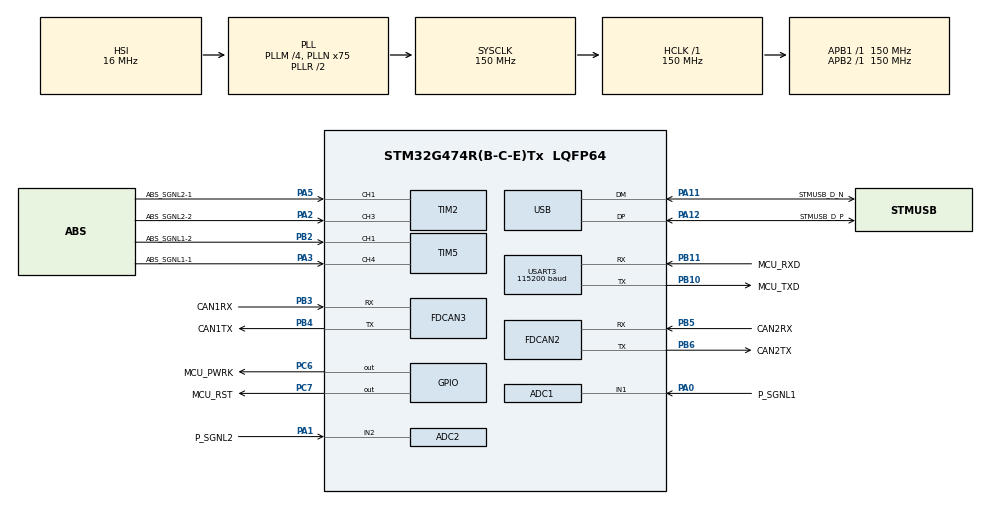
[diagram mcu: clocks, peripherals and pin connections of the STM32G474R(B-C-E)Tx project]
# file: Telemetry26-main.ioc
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ADC1.Channel-0\#ChannelRegularConversion=ADC_CHANNEL_1
ADC1.NbrOfConversionFlag=1
ADC1.OffsetNumber-0\#ChannelRegularConversion=ADC_OFFSET_NONE
ADC1.Rank-0\#ChannelRegularConversion=1
ADC1.SamplingTime-0\#ChannelRegularConversion=ADC_SAMPLETIME_2CYCLES_5
ADC1.master=1
ADC2.Channel-0\#ChannelRegularConversion=ADC_CHANNEL_2
ADC2.NbrOfConversionFlag=1
ADC2.OffsetNumber-0\#ChannelRegularConversion=ADC_OFFSET_NONE
ADC2.Rank-0\#ChannelRegularConversion=1
ADC2.SamplingTime-0\#ChannelRegularConversion=ADC_SAMPLETIME_2CYCLES_5
Dma.Request0=USART3_TX
Dma.Request1=USART3_RX
Dma.USART3_RX.1.Direction=DMA_PERIPH_TO_MEMORY
Dma.USART3_RX.1.EventEnable=DISABLE
Dma.USART3_RX.1.Instance=DMA1_Channel2
Dma.USART3_RX.1.MemDataAlignment=DMA_MDATAALIGN_BYTE
Dma.USART3_RX.1.MemInc=DMA_MINC_ENABLE
Dma.USART3_RX.1.Mode=DMA_NORMAL
Dma.USART3_RX.1.PeriphDataAlignment=DMA_PDATAALIGN_BYTE
Dma.USART3_RX.1.PeriphInc=DMA_PINC_DISABLE
Dma.USART3_RX.1.Polarity=HAL_DMAMUX_REQ_GEN_RISING
Dma.USART3_RX.1.Priority=DMA_PRIORITY_LOW
Dma.USART3_RX.1.RequestNumber=1
Dma.USART3_RX.1.SignalID=NONE
Dma.USART3_RX.1.SyncEnable=DISABLE
Dma.USART3_RX.1.SyncPolarity=HAL_DMAMUX_SYNC_NO_EVENT
Dma.USART3_RX.1.SyncRequestNumber=1
Dma.USART3_RX.1.SyncSignalID=NONE
Dma.USART3_TX.0.Direction=DMA_MEMORY_TO_PERIPH
Dma.USART3_TX.0.EventEnable=DISABLE
Dma.USART3_TX.0.Instance=DMA1_Channel1
Dma.USART3_TX.0.MemDataAlignment=DMA_MDATAALIGN_BYTE
Dma.USART3_TX.0.MemInc=DMA_MINC_ENABLE
Dma.USART3_TX.0.Mode=DMA_NORMAL
Dma.USART3_TX.0.PeriphDataAlignment=DMA_PDATAALIGN_BYTE
Dma.USART3_TX.0.PeriphInc=DMA_PINC_DISABLE
Dma.USART3_TX.0.Polarity=HAL_DMAMUX_REQ_GEN_RISING
Dma.USART3_TX.0.Priority=DMA_PRIORITY_LOW
Dma.USART3_TX.0.RequestNumber=1
Dma.USART3_TX.0.SignalID=NONE
Dma.USART3_TX.0.SyncEnable=DISABLE
Dma.USART3_TX.0.SyncPolarity=HAL_DMAMUX_SYNC_NO_EVENT
Dma.USART3_TX.0.SyncRequestNumber=1
Dma.USART3_TX.0.SyncSignalID=NONE
FDCAN2.CalculateBaudRateNominal=1000000
FDCAN2.CalculateTimeBitNominal=1000
FDCAN2.CalculateTimeQuantumNominal=20.0
FDCAN2.NominalPrescaler=1
FDCAN2.NominalSyncJumpWidth=7
FDCAN2.NominalTimeSeg1=42
FDCAN2.NominalTimeSeg2=7
FDCAN3.CalculateBaudRateNominal=1000000
FDCAN3.CalculateTimeBitNominal=1000
FDCAN3.CalculateTimeQuantumNominal=20.0
FDCAN3.DataSyncJumpWidth=12
FDCAN3.DataTimeSeg1=12
FDCAN3.DataTimeSeg2=12
FDCAN3.FrameFormat=FDCAN_FRAME_FD_BRS
FDCAN3.NominalPrescaler=1
FDCAN3.NominalSyncJumpWidth=7
FDCAN3.NominalTimeSeg1=42
FDCAN3.NominalTimeSeg2=7
FREERTOS.Tasks01=vTelemetry_Task,40,512,StartTelemetryTask,Default,NULL,Dynamic,NULL,NULL;vGSM_Task,24,512,StartGSMTask,Default,NULL,Dynamic,NULL,NULL
FREERTOS.configTOTAL_HEAP_SIZE=16384
FREERTOS.configUSE_NEWLIB_REENTRANT=1
IWDG.Prescaler=IWDG_PRESCALER_256
Mcu.Family=STM32G4
Mcu.Name=STM32G474R(B-C-E)Tx
Mcu.Package=LQFP64
NVIC.DMA1_Channel1_IRQn=true\:5\:0\:false\:false\:true\:true\:false\:true\:true
NVIC.DMA1_Channel2_IRQn=true\:5\:0\:false\:false\:true\:true\:false\:true\:true
NVIC.FDCAN2_IT0_IRQn=true\:5\:0\:false\:false\:true\:true\:true\:true\:true
NVIC.FDCAN3_IT0_IRQn=true\:5\:0\:false\:false\:true\:true\:true\:true\:true
NVIC.PriorityGroup=NVIC_PRIORITYGROUP_4
NVIC.TIM2_IRQn=true\:5\:0\:false\:false\:true\:true\:true\:true\:true
NVIC.TIM5_IRQn=true\:5\:0\:false\:false\:true\:true\:true\:true\:true
NVIC.TIM6_DAC_IRQn=true\:15\:0\:false\:false\:true\:false\:false\:true\:true
NVIC.TimeBase=TIM6_DAC_IRQn
NVIC.TimeBaseIP=TIM6
NVIC.USART3_IRQn=true\:5\:0\:false\:false\:true\:true\:true\:true\:true
PA0.GPIO_Label=P_SGNL1
PA0.Mode=IN1-Single-Ended
PA0.Signal=ADC1_IN1
PA1.GPIO_Label=P_SGNL2
PA1.Mode=IN2-Single-Ended
PA1.Signal=ADC2_IN2
PA11.GPIO_Label=STMUSB_D_N
PA11.Mode=Device
PA11.Signal=USB_DM
PA12.GPIO_Label=STMUSB_D_P
PA12.Mode=Device
PA12.Signal=USB_DP
PA13.GPIO_Label=SWDIO
PA13.Mode=Serial_Wire
PA13.Signal=SYS_JTMS-SWDIO
PA14.GPIO_Label=SWCLK
PA14.Mode=Serial_Wire
PA14.Signal=SYS_JTCK-SWCLK
PA2.GPIO_Label=ABS_SGNL2-2
PA2.Signal=S_TIM2_CH3
PA3.GPIO_Label=ABS_SGNL1-1
PA3.Signal=S_TIM5_CH4
PA5.GPIO_Label=ABS_SGNL2-1
PA5.Signal=S_TIM2_CH1
PB10.GPIO_Label=MCU_TXD
PB10.Mode=Asynchronous
PB10.Signal=USART3_TX
PB11.GPIO_Label=MCU_RXD
PB11.Mode=Asynchronous
PB11.Signal=USART3_RX
PB2.GPIO_Label=ABS_SGNL1-2
PB2.Signal=S_TIM5_CH1
PB3.GPIO_Label=CAN1RX
PB3.Mode=FDCAN_Activate
PB3.Signal=FDCAN3_RX
PB4.GPIO_Label=CAN1TX
PB4.Mode=FDCAN_Activate
PB4.Signal=FDCAN3_TX
PB5.GPIO_Label=CAN2RX
PB5.Mode=FDCAN_Activate
PB5.Signal=FDCAN2_RX
PB6.GPIO_Label=CAN2TX
PB6.Mode=FDCAN_Activate
PB6.Signal=FDCAN2_TX
PC6.GPIO_Label=MCU_PWRK
PC6.Signal=GPIO_Output
PC7.GPIO_Label=MCU_RST
PC7.PinState=GPIO_PIN_RESET
PC7.Signal=GPIO_Output
PF0-OSC_IN.Mode=HSE-External-Oscillator
PF0-OSC_IN.Signal=RCC_OSC_IN
PF1-OSC_OUT.Mode=HSE-External-Oscillator
PF1-OSC_OUT.Signal=RCC_OSC_OUT
ProjectManager.HeapSize=0x200
ProjectManager.StackSize=0x400
ProjectManager.TargetToolchain=STM32CubeIDE
RCC.ADC12Freq_Value=150000000
RCC.ADC345Freq_Value=150000000
RCC.AHBFreq_Value=150000000
RCC.APB1Freq_Value=150000000
RCC.APB1TimFreq_Value=150000000
RCC.APB2Freq_Value=150000000
RCC.APB2TimFreq_Value=150000000
RCC.CK48CLockSelection=RCC_USBCLKSOURCE_HSI48
RCC.CortexFreq_Value=150000000
RCC.EXTERNAL_CLOCK_VALUE=12288000
RCC.FDCANCLockSelection=RCC_FDCANCLKSOURCE_PLL
RCC.HCLKFreq_Value=150000000
RCC.HSE_VALUE=8000000
RCC.HSI48_VALUE=48000000
RCC.HSI_VALUE=16000000
RCC.LSE_VALUE=32768
RCC.PLLM=RCC_PLLM_DIV4
RCC.PLLN=75
RCC.PLLQ=RCC_PLLQ_DIV6
RCC.SYSCLKFreq_VALUE=150000000
RCC.SYSCLKSource=RCC_SYSCLKSOURCE_PLLCLK
RCC.USBFreq_Value=48000000
RCC.VCOOutputFreq_Value=300000000
SH.S_TIM2_CH1.0=TIM2_CH1,Input_Capture1_from_TI1
SH.S_TIM2_CH3.0=TIM2_CH3,Input_Capture3_from_TI3
SH.S_TIM5_CH1.0=TIM5_CH1,Input_Capture1_from_TI1
SH.S_TIM5_CH4.0=TIM5_CH4,Input_Capture4_from_TI4
TIM2.Channel-Input_Capture1_from_TI1=TIM_CHANNEL_1
TIM2.Channel-Input_Capture3_from_TI3=TIM_CHANNEL_3
TIM5.Channel-Input_Capture1_from_TI1=TIM_CHANNEL_1
TIM5.Channel-Input_Capture4_from_TI4=TIM_CHANNEL_4
USART3.BaudRate=115200
USART3.VirtualMode-Asynchronous=VM_ASYNC
VP_FREERTOS_VS_CMSIS_V2.Mode=CMSIS_V2
VP_IWDG_VS_IWDG.Mode=IWDG_Activate
VP_SYS_VS_DBSignals.Mode=DisableDeadBatterySignals
VP_SYS_VS_tim6.Mode=TIM6
VP_TIM2_VS_ClockSourceINT.Mode=Internal
VP_TIM5_VS_ClockSourceINT.Mode=Internal
board=custom

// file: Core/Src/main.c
/* USER CODE BEGIN Header */
/**
  ******************************************************************************
  * @file           : main.c
  * @brief          : Main program body
  ******************************************************************************
  * @attention
  *
  * Copyright (c) 2026 STMicroelectronics.
  * All rights reserved.
  *
  * This software is licensed under terms that can be found in the LICENSE file
  * in the root directory of this software component.
  * If no LICENSE file comes with this software, it is provided AS-IS.
  *
  ******************************************************************************
  */
/* USER CODE END Header */
#include "main.h"
#include "cmsis_os.h"

/* USER CODE BEGIN Includes */
#include "app_tasks.h"
#include "app_config.h"
#include "telemetry_buffer.h"
#include "modem.h"
#include "can_decode.h"
#include <string.h>
/* USER CODE END Includes */

/* USER CODE BEGIN PD */
#define GSM_SILENCE_WATCHDOG   APP_GSM_SILENCE_WATCHDOG
#define GSM_SILENCE_RESET_MS   APP_GSM_SILENCE_RESET_MS
#define IWDG_ENABLE_REG_START  0
#define IWDG_ENABLE_REFRESH    APP_IWDG_ENABLE_REFRESH
/* USER CODE END PD */

ADC_HandleTypeDef hadc1;
ADC_HandleTypeDef hadc2;

FDCAN_HandleTypeDef hfdcan2;
FDCAN_HandleTypeDef hfdcan3;

IWDG_HandleTypeDef hiwdg;

TIM_HandleTypeDef htim2;
TIM_HandleTypeDef htim5;

UART_HandleTypeDef huart3;
DMA_HandleTypeDef hdma_usart3_tx;
DMA_HandleTypeDef hdma_usart3_rx;

PCD_HandleTypeDef hpcd_USB_FS;

/* Definitions for vTelemetry_Task */
osThreadId_t vTelemetry_TaskHandle;
const osThreadAttr_t vTelemetry_Task_attributes = {
  .name = "vTelemetry_Task",
  .priority = (osPriority_t) osPriorityHigh,
  .stack_size = 512 * 4
};
/* Definitions for vGSM_Task */
osThreadId_t vGSM_TaskHandle;
const osThreadAttr_t vGSM_Task_attributes = {
  .name = "vGSM_Task",
  .priority = (osPriority_t) osPriorityNormal,
  .stack_size = 512 * 4
};

void SystemClock_Config(void);
static void MX_GPIO_Init(void);
static void MX_DMA_Init(void);
static void MX_FDCAN2_Init(void);
static void MX_USART3_UART_Init(void);
static void MX_ADC1_Init(void);
static void MX_ADC2_Init(void);
static void MX_FDCAN3_Init(void);
static void MX_TIM2_Init(void);
static void MX_TIM5_Init(void);
static void MX_USB_PCD_Init(void);
static void MX_IWDG_Init(void);
void App_CanRxCallback(FDCAN_HandleTypeDef *hfdcan, FDCAN_RxHeaderTypeDef *header, uint8_t *data);

int main(void)
{

  /* MCU Configuration--------------------------------------------------------*/

  /* Reset of all peripherals, Initializes the Flash interface and the Systick. */
  HAL_Init();

  /* Configure the system clock */
  SystemClock_Config();

  /* Initialize all configured peripherals */
  MX_GPIO_Init();
  MX_DMA_Init();
  MX_FDCAN2_Init();
  MX_USART3_UART_Init();
  MX_ADC1_Init();
  MX_ADC2_Init();
  MX_FDCAN3_Init();
  MX_TIM2_Init();
  MX_TIM5_Init();
  MX_USB_PCD_Init();
  MX_IWDG_Init();
  /* USER CODE BEGIN 2 */
  // ANALOG SENSÖRLERİ BAŞLAT (Fren, Süspansiyon vb. için PA0 ve PA1)
  HAL_ADC_Start(&hadc1);
  HAL_ADC_Start(&hadc2);

  // TEKERLEK HIZ SENSÖRLERİNİ BAŞLAT (ABS Input Capture)
  HAL_TIM_IC_Start_IT(&htim2, TIM_CHANNEL_1); // PA5
  HAL_TIM_IC_Start_IT(&htim2, TIM_CHANNEL_3); // PA2
  HAL_TIM_IC_Start_IT(&htim5, TIM_CHANNEL_1); // PB2
  HAL_TIM_IC_Start_IT(&htim5, TIM_CHANNEL_4); // PA3

  //BKZ
  HAL_FDCAN_ActivateNotification(&hfdcan2, FDCAN_IT_RX_FIFO0_NEW_MESSAGE, 0);
  HAL_FDCAN_ActivateNotification(&hfdcan3, FDCAN_IT_RX_FIFO0_NEW_MESSAGE, 0);

  HAL_FDCAN_Start(&hfdcan2);
  HAL_FDCAN_Start(&hfdcan3);

#if IWDG_ENABLE_REFRESH
  // Telemetri task'i her 100 ms besler; tam sistem kilitlenirse ~32s'de MCU resetlenir.
  DBGMCU->APB1FZR1 |= DBGMCU_APB1FZR1_DBG_IWDG_STOP; // breakpoint'te IWDG saymasin (debug rahatligi)
#endif
#if IWDG_ENABLE_REG_START
  // IWDG'yi register ile baslat (HAL IWDG modulu kapali). CubeMX'te acarsan bunu 0 yap.
  IWDG->KR  = 0x00005555u;  // PR/RLR yazilabilir hale getir
  IWDG->PR  = 0x06u;        // prescaler /256 -> LSI(~32kHz)/256 = 125 Hz
  IWDG->RLR = 0x00000FFFu;  // reload 4095 -> timeout ~ 4096/125 = 32.8 s
  IWDG->KR  = 0x0000CCCCu;  // IWDG'yi baslat (LSI'yi de calistirir)
#endif
  /* USER CODE END 2 */

  /* Init scheduler */
  osKernelInitialize();

  /* USER CODE BEGIN RTOS_TIMERS */
  /* start timers, add new ones, ... */
  /* USER CODE BEGIN RTOS_TIMERS */
    /* start timers, add new ones, ... */

//  bmsTimerHandle = osTimerNew(Callback_BMS_Timeout, osTimerOnce, NULL, NULL);//süre bitince 1 kez
//  invTimerHandle = osTimerNew(Callback_INV_Timeout, osTimerOnce, NULL, NULL);

//  osTimerStart(bmsTimerHandle, 1000U); //1s
//  osTimerStart(invTimerHandle, 500U);  //0.5s

  /* USER CODE END RTOS_TIMERS */

  /* USER CODE BEGIN RTOS_THREADS */
  App_TasksStart();
  /* USER CODE END RTOS_THREADS */

  /* Start scheduler */
  osKernelStart();

  /* We should never get here as control is now taken by the scheduler */

  /* Infinite loop */
  while (1)
  {

  }
}

void SystemClock_Config(void)
{
  RCC_OscInitTypeDef RCC_OscInitStruct = {0};
  RCC_ClkInitTypeDef RCC_ClkInitStruct = {0};

  /** Configure the main internal regulator output voltage
  */
  HAL_PWREx_ControlVoltageScaling(PWR_REGULATOR_VOLTAGE_SCALE1);

  /** Initializes the RCC Oscillators according to the specified parameters
  * in the RCC_OscInitTypeDef structure.
  */
  RCC_OscInitStruct.OscillatorType = RCC_OSCILLATORTYPE_HSI|RCC_OSCILLATORTYPE_HSI48
                              |RCC_OSCILLATORTYPE_LSI;
  RCC_OscInitStruct.HSIState = RCC_HSI_ON;
  RCC_OscInitStruct.HSICalibrationValue = RCC_HSICALIBRATION_DEFAULT;
  RCC_OscInitStruct.LSIState = RCC_LSI_ON;
  RCC_OscInitStruct.HSI48State = RCC_HSI48_ON;
  RCC_OscInitStruct.PLL.PLLState = RCC_PLL_ON;
  RCC_OscInitStruct.PLL.PLLSource = RCC_PLLSOURCE_HSI;
  RCC_OscInitStruct.PLL.PLLM = RCC_PLLM_DIV4;
  RCC_OscInitStruct.PLL.PLLN = 75;
  RCC_OscInitStruct.PLL.PLLP = RCC_PLLP_DIV2;
  RCC_OscInitStruct.PLL.PLLQ = RCC_PLLQ_DIV6;
  RCC_OscInitStruct.PLL.PLLR = RCC_PLLR_DIV2;
  if (HAL_RCC_OscConfig(&RCC_OscInitStruct) != HAL_OK)
  {
    Error_Handler();
  }

  /** Initializes the CPU, AHB and APB buses clocks
  */
  RCC_ClkInitStruct.ClockType = RCC_CLOCKTYPE_HCLK|RCC_CLOCKTYPE_SYSCLK
                              |RCC_CLOCKTYPE_PCLK1|RCC_CLOCKTYPE_PCLK2;
  RCC_ClkInitStruct.SYSCLKSource = RCC_SYSCLKSOURCE_PLLCLK;
  RCC_ClkInitStruct.AHBCLKDivider = RCC_SYSCLK_DIV1;
  RCC_ClkInitStruct.APB1CLKDivider = RCC_HCLK_DIV1;
  RCC_ClkInitStruct.APB2CLKDivider = RCC_HCLK_DIV1;

  if (HAL_RCC_ClockConfig(&RCC_ClkInitStruct, FLASH_LATENCY_4) != HAL_OK)
  {
    Error_Handler();
  }
}

static void MX_ADC1_Init(void)
{

  ADC_MultiModeTypeDef multimode = {0};
  ADC_ChannelConfTypeDef sConfig = {0};

  /** Common config
  */
  hadc1.Instance = ADC1;
  hadc1.Init.ClockPrescaler = ADC_CLOCK_SYNC_PCLK_DIV4;
  hadc1.Init.Resolution = ADC_RESOLUTION_12B;
  hadc1.Init.DataAlign = ADC_DATAALIGN_RIGHT;
  hadc1.Init.GainCompensation = 0;
  hadc1.Init.ScanConvMode = ADC_SCAN_DISABLE;
  hadc1.Init.EOCSelection = ADC_EOC_SINGLE_CONV;
  hadc1.Init.LowPowerAutoWait = DISABLE;
  hadc1.Init.ContinuousConvMode = DISABLE;
  hadc1.Init.NbrOfConversion = 1;
  hadc1.Init.DiscontinuousConvMode = DISABLE;
  hadc1.Init.ExternalTrigConv = ADC_SOFTWARE_START;
  hadc1.Init.ExternalTrigConvEdge = ADC_EXTERNALTRIGCONVEDGE_NONE;
  hadc1.Init.DMAContinuousRequests = DISABLE;
  hadc1.Init.Overrun = ADC_OVR_DATA_PRESERVED;
  hadc1.Init.OversamplingMode = DISABLE;
  if (HAL_ADC_Init(&hadc1) != HAL_OK)
  {
    Error_Handler();
  }

  /** Configure the ADC multi-mode
  */
  multimode.Mode = ADC_MODE_INDEPENDENT;
  if (HAL_ADCEx_MultiModeConfigChannel(&hadc1, &multimode) != HAL_OK)
  {
    Error_Handler();
  }

  /** Configure Regular Channel
  */
  sConfig.Channel = ADC_CHANNEL_1;
  sConfig.Rank = ADC_REGULAR_RANK_1;
  sConfig.SamplingTime = ADC_SAMPLETIME_2CYCLES_5;
  sConfig.SingleDiff = ADC_SINGLE_ENDED;
  sConfig.OffsetNumber = ADC_OFFSET_NONE;
  sConfig.Offset = 0;
  if (HAL_ADC_ConfigChannel(&hadc1, &sConfig) != HAL_OK)
  {
    Error_Handler();
  }

}

static void MX_ADC2_Init(void)
{

  ADC_ChannelConfTypeDef sConfig = {0};

  /** Common config
  */
  hadc2.Instance = ADC2;
  hadc2.Init.ClockPrescaler = ADC_CLOCK_SYNC_PCLK_DIV4;
  hadc2.Init.Resolution = ADC_RESOLUTION_12B;
  hadc2.Init.DataAlign = ADC_DATAALIGN_RIGHT;
  hadc2.Init.GainCompensation = 0;
  hadc2.Init.ScanConvMode = ADC_SCAN_DISABLE;
  hadc2.Init.EOCSelection = ADC_EOC_SINGLE_CONV;
  hadc2.Init.LowPowerAutoWait = DISABLE;
  hadc2.Init.ContinuousConvMode = DISABLE;
  hadc2.Init.NbrOfConversion = 1;
  hadc2.Init.DiscontinuousConvMode = DISABLE;
  hadc2.Init.ExternalTrigConv = ADC_SOFTWARE_START;
  hadc2.Init.ExternalTrigConvEdge = ADC_EXTERNALTRIGCONVEDGE_NONE;
  hadc2.Init.DMAContinuousRequests = DISABLE;
  hadc2.Init.Overrun = ADC_OVR_DATA_PRESERVED;
  hadc2.Init.OversamplingMode = DISABLE;
  if (HAL_ADC_Init(&hadc2) != HAL_OK)
  {
    Error_Handler();
  }

  /** Configure Regular Channel
  */
  sConfig.Channel = ADC_CHANNEL_2;
  sConfig.Rank = ADC_REGULAR_RANK_1;
  sConfig.SamplingTime = ADC_SAMPLETIME_2CYCLES_5;
  sConfig.SingleDiff = ADC_SINGLE_ENDED;
  sConfig.OffsetNumber = ADC_OFFSET_NONE;
  sConfig.Offset = 0;
  if (HAL_ADC_ConfigChannel(&hadc2, &sConfig) != HAL_OK)
  {
    Error_Handler();
  }

}

static void MX_FDCAN2_Init(void)
{

  hfdcan2.Instance = FDCAN2;
  hfdcan2.Init.ClockDivider = FDCAN_CLOCK_DIV1;
  hfdcan2.Init.FrameFormat = FDCAN_FRAME_CLASSIC;
  hfdcan2.Init.Mode = FDCAN_MODE_NORMAL;
  hfdcan2.Init.AutoRetransmission = DISABLE;
  hfdcan2.Init.TransmitPause = DISABLE;
  hfdcan2.Init.ProtocolException = DISABLE;
  hfdcan2.Init.NominalPrescaler = 1;
  hfdcan2.Init.NominalSyncJumpWidth = 7;
  hfdcan2.Init.NominalTimeSeg1 = 42;
  hfdcan2.Init.NominalTimeSeg2 = 7;
  hfdcan2.Init.DataPrescaler = 1;
  hfdcan2.Init.DataSyncJumpWidth = 1;
  hfdcan2.Init.DataTimeSeg1 = 1;
  hfdcan2.Init.DataTimeSeg2 = 1;
  hfdcan2.Init.StdFiltersNbr = 0;
  hfdcan2.Init.ExtFiltersNbr = 0;
  hfdcan2.Init.TxFifoQueueMode = FDCAN_TX_FIFO_OPERATION;
  if (HAL_FDCAN_Init(&hfdcan2) != HAL_OK)
  {
    Error_Handler();
  }
  /* USER CODE BEGIN FDCAN2_Init 2 */
  // Faz 3: ID filtresi tanimli degil -> eslesmeyen TUM standart/extended cerceveleri
  // RX FIFO0'a kabul et (varsayilan da boyle; CubeMX regen'ine karsi acikca ayarla).
  if (HAL_FDCAN_ConfigGlobalFilter(&hfdcan2, FDCAN_ACCEPT_IN_RX_FIFO0, FDCAN_ACCEPT_IN_RX_FIFO0,
                                   FDCAN_REJECT_REMOTE, FDCAN_REJECT_REMOTE) != HAL_OK)
  {
    Error_Handler();
  }
  /* USER CODE END FDCAN2_Init 2 */

}

static void MX_FDCAN3_Init(void)
{

  hfdcan3.Instance = FDCAN3;
  hfdcan3.Init.ClockDivider = FDCAN_CLOCK_DIV1;
  hfdcan3.Init.FrameFormat = FDCAN_FRAME_FD_BRS;
  hfdcan3.Init.Mode = FDCAN_MODE_NORMAL;
  hfdcan3.Init.AutoRetransmission = DISABLE;
  hfdcan3.Init.TransmitPause = DISABLE;
  hfdcan3.Init.ProtocolException = DISABLE;
  hfdcan3.Init.NominalPrescaler = 1;
  hfdcan3.Init.NominalSyncJumpWidth = 7;
  hfdcan3.Init.NominalTimeSeg1 = 42;
  hfdcan3.Init.NominalTimeSeg2 = 7;
  hfdcan3.Init.DataPrescaler = 1;
  hfdcan3.Init.DataSyncJumpWidth = 12;
  hfdcan3.Init.DataTimeSeg1 = 12;
  hfdcan3.Init.DataTimeSeg2 = 12;
  hfdcan3.Init.StdFiltersNbr = 0;
  hfdcan3.Init.ExtFiltersNbr = 0;
  hfdcan3.Init.TxFifoQueueMode = FDCAN_TX_FIFO_OPERATION;
  if (HAL_FDCAN_Init(&hfdcan3) != HAL_OK)
  {
    Error_Handler();
  }
  /* USER CODE BEGIN FDCAN3_Init 2 */
  // Faz 3: ID filtresi tanimli degil -> eslesmeyen TUM standart/extended cerceveleri
  // RX FIFO0'a kabul et (varsayilan da boyle; CubeMX regen'ine karsi acikca ayarla).
  if (HAL_FDCAN_ConfigGlobalFilter(&hfdcan3, FDCAN_ACCEPT_IN_RX_FIFO0, FDCAN_ACCEPT_IN_RX_FIFO0,
                                   FDCAN_REJECT_REMOTE, FDCAN_REJECT_REMOTE) != HAL_OK)
  {
    Error_Handler();
  }
  /* USER CODE END FDCAN3_Init 2 */

}

static void MX_IWDG_Init(void)
{

  hiwdg.Instance = IWDG;
  hiwdg.Init.Prescaler = IWDG_PRESCALER_256;
  hiwdg.Init.Window = 4095;
  hiwdg.Init.Reload = 4095;
  if (HAL_IWDG_Init(&hiwdg) != HAL_OK)
  {
    Error_Handler();
  }

}

static void MX_TIM2_Init(void)
{

  TIM_ClockConfigTypeDef sClockSourceConfig = {0};
  TIM_MasterConfigTypeDef sMasterConfig = {0};
  TIM_IC_InitTypeDef sConfigIC = {0};

  htim2.Instance = TIM2;
  htim2.Init.Prescaler = 0;
  htim2.Init.CounterMode = TIM_COUNTERMODE_UP;
  htim2.Init.Period = 4294967295;
  htim2.Init.ClockDivision = TIM_CLOCKDIVISION_DIV1;
  htim2.Init.AutoReloadPreload = TIM_AUTORELOAD_PRELOAD_DISABLE;
  if (HAL_TIM_Base_Init(&htim2) != HAL_OK)
  {
    Error_Handler();
  }
  sClockSourceConfig.ClockSource = TIM_CLOCKSOURCE_INTERNAL;
  if (HAL_TIM_ConfigClockSource(&htim2, &sClockSourceConfig) != HAL_OK)
  {
    Error_Handler();
  }
  if (HAL_TIM_IC_Init(&htim2) != HAL_OK)
  {
    Error_Handler();
  }
  sMasterConfig.MasterOutputTrigger = TIM_TRGO_RESET;
  sMasterConfig.MasterSlaveMode = TIM_MASTERSLAVEMODE_DISABLE;
  if (HAL_TIMEx_MasterConfigSynchronization(&htim2, &sMasterConfig) != HAL_OK)
  {
    Error_Handler();
  }
  sConfigIC.ICPolarity = TIM_INPUTCHANNELPOLARITY_RISING;
  sConfigIC.ICSelection = TIM_ICSELECTION_DIRECTTI;
  sConfigIC.ICPrescaler = TIM_ICPSC_DIV1;
  sConfigIC.ICFilter = 0;
  if (HAL_TIM_IC_ConfigChannel(&htim2, &sConfigIC, TIM_CHANNEL_1) != HAL_OK)
  {
    Error_Handler();
  }
  if (HAL_TIM_IC_ConfigChannel(&htim2, &sConfigIC, TIM_CHANNEL_3) != HAL_OK)
  {
    Error_Handler();
  }

}

static void MX_TIM5_Init(void)
{

  TIM_ClockConfigTypeDef sClockSourceConfig = {0};
  TIM_MasterConfigTypeDef sMasterConfig = {0};
  TIM_IC_InitTypeDef sConfigIC = {0};

  htim5.Instance = TIM5;
  htim5.Init.Prescaler = 0;
  htim5.Init.CounterMode = TIM_COUNTERMODE_UP;
  htim5.Init.Period = 4294967295;
  htim5.Init.ClockDivision = TIM_CLOCKDIVISION_DIV1;
  htim5.Init.AutoReloadPreload = TIM_AUTORELOAD_PRELOAD_DISABLE;
  if (HAL_TIM_Base_Init(&htim5) != HAL_OK)
  {
    Error_Handler();
  }
  sClockSourceConfig.ClockSource = TIM_CLOCKSOURCE_INTERNAL;
  if (HAL_TIM_ConfigClockSource(&htim5, &sClockSourceConfig) != HAL_OK)
  {
    Error_Handler();
  }
  if (HAL_TIM_IC_Init(&htim5) != HAL_OK)
  {
    Error_Handler();
  }
  sMasterConfig.MasterOutputTrigger = TIM_TRGO_RESET;
  sMasterConfig.MasterSlaveMode = TIM_MASTERSLAVEMODE_DISABLE;
  if (HAL_TIMEx_MasterConfigSynchronization(&htim5, &sMasterConfig) != HAL_OK)
  {
    Error_Handler();
  }
  sConfigIC.ICPolarity = TIM_INPUTCHANNELPOLARITY_RISING;
  sConfigIC.ICSelection = TIM_ICSELECTION_DIRECTTI;
  sConfigIC.ICPrescaler = TIM_ICPSC_DIV1;
  sConfigIC.ICFilter = 0;
  if (HAL_TIM_IC_ConfigChannel(&htim5, &sConfigIC, TIM_CHANNEL_1) != HAL_OK)
  {
    Error_Handler();
  }
  if (HAL_TIM_IC_ConfigChannel(&htim5, &sConfigIC, TIM_CHANNEL_4) != HAL_OK)
  {
    Error_Handler();
  }

}

static void MX_USART3_UART_Init(void)
{

  huart3.Instance = USART3;
  huart3.Init.BaudRate = 115200;
  huart3.Init.WordLength = UART_WORDLENGTH_8B;
  huart3.Init.StopBits = UART_STOPBITS_1;
  huart3.Init.Parity = UART_PARITY_NONE;
  huart3.Init.Mode = UART_MODE_TX_RX;
  huart3.Init.HwFlowCtl = UART_HWCONTROL_NONE;
  huart3.Init.OverSampling = UART_OVERSAMPLING_16;
  huart3.Init.OneBitSampling = UART_ONE_BIT_SAMPLE_DISABLE;
  huart3.Init.ClockPrescaler = UART_PRESCALER_DIV1;
  huart3.AdvancedInit.AdvFeatureInit = UART_ADVFEATURE_NO_INIT;
  if (HAL_UART_Init(&huart3) != HAL_OK)
  {
    Error_Handler();
  }
  if (HAL_UARTEx_SetTxFifoThreshold(&huart3, UART_TXFIFO_THRESHOLD_1_8) != HAL_OK)
  {
    Error_Handler();
  }
  if (HAL_UARTEx_SetRxFifoThreshold(&huart3, UART_RXFIFO_THRESHOLD_1_8) != HAL_OK)
  {
    Error_Handler();
  }
  if (HAL_UARTEx_DisableFifoMode(&huart3) != HAL_OK)
  {
    Error_Handler();
  }

}

static void MX_USB_PCD_Init(void)
{

  hpcd_USB_FS.Instance = USB;
  hpcd_USB_FS.Init.dev_endpoints = 8;
  hpcd_USB_FS.Init.speed = PCD_SPEED_FULL;
  hpcd_USB_FS.Init.phy_itface = PCD_PHY_EMBEDDED;
  hpcd_USB_FS.Init.Sof_enable = DISABLE;
  hpcd_USB_FS.Init.low_power_enable = DISABLE;
  hpcd_USB_FS.Init.lpm_enable = DISABLE;
  hpcd_USB_FS.Init.battery_charging_enable = DISABLE;
  if (HAL_PCD_Init(&hpcd_USB_FS) != HAL_OK)
  {
    Error_Handler();
  }

}

static void MX_DMA_Init(void)
{

  /* DMA controller clock enable */
  __HAL_RCC_DMAMUX1_CLK_ENABLE();
  __HAL_RCC_DMA1_CLK_ENABLE();

  /* DMA interrupt init */
  /* DMA1_Channel1_IRQn interrupt configuration */
  HAL_NVIC_SetPriority(DMA1_Channel1_IRQn, 5, 0);
  HAL_NVIC_EnableIRQ(DMA1_Channel1_IRQn);
  /* DMA1_Channel2_IRQn interrupt configuration */
  HAL_NVIC_SetPriority(DMA1_Channel2_IRQn, 5, 0);
  HAL_NVIC_EnableIRQ(DMA1_Channel2_IRQn);

}

static void MX_GPIO_Init(void)
{
  GPIO_InitTypeDef GPIO_InitStruct = {0};

  /* GPIO Ports Clock Enable */
  __HAL_RCC_GPIOF_CLK_ENABLE();
  __HAL_RCC_GPIOA_CLK_ENABLE();
  __HAL_RCC_GPIOB_CLK_ENABLE();
  __HAL_RCC_GPIOC_CLK_ENABLE();

  /*Configure GPIO pin Output Level */
  HAL_GPIO_WritePin(GPIOC, MCU_PWRK_Pin|MCU_RST_Pin, GPIO_PIN_RESET);

  /*Configure GPIO pins : MCU_PWRK_Pin MCU_RST_Pin */
  GPIO_InitStruct.Pin = MCU_PWRK_Pin|MCU_RST_Pin;
  GPIO_InitStruct.Mode = GPIO_MODE_OUTPUT_PP;
  GPIO_InitStruct.Pull = GPIO_NOPULL;
  GPIO_InitStruct.Speed = GPIO_SPEED_FREQ_LOW;
  HAL_GPIO_Init(GPIOC, &GPIO_InitStruct);

}

/* USER CODE BEGIN 4 */
void HAL_FDCAN_ErrorCallback(FDCAN_HandleTypeDef* errfdcan){
	if(errfdcan->Instance == FDCAN2){
		Telemetry_SetError(ERR_FDCAN2_RUNTIME);
	}
	if(errfdcan->Instance == FDCAN3){
		Telemetry_SetError(ERR_FDCAN3_RUNTIME);
	}
	if (errfdcan->ErrorCode & FDCAN_FLAG_BUS_OFF) {
	    HAL_FDCAN_Stop(errfdcan); //Donanımı durdur
	    HAL_FDCAN_Start(errfdcan); //Yeniden başlat
	}

}

void HAL_UART_ErrorCallback(UART_HandleTypeDef *huart){
    if (huart->Instance == USART3){
        Modem_OnUartError();
    }
}

void HAL_UARTEx_RxEventCallback(UART_HandleTypeDef *huart, uint16_t Size)
{
    if (huart->Instance == USART3) {
        /* Final26: copy delta only — circular DMA stays armed, no rearm here. */
        Modem_OnUartRxEvent(Size);
    }
}

void HAL_FDCAN_RxFifo0Callback(FDCAN_HandleTypeDef* hfdcan, uint32_t RxFifo0ITs){
	if((RxFifo0ITs & FDCAN_IT_RX_FIFO0_NEW_MESSAGE) != 0U){
		FDCAN_RxHeaderTypeDef RxHeader;
		uint8_t RxData[64];
		memset(RxData, 0, sizeof(RxData));
		if(HAL_FDCAN_GetRxMessage(hfdcan, FDCAN_RX_FIFO0, &RxHeader, RxData) == HAL_OK){
			App_CanRxCallback(hfdcan, &RxHeader, RxData);
		}
	}
}

/* USER CODE END 4 */

/* USER CODE BEGIN Header_StartTelemetryTask */
/* Legacy CubeMX task stubs - tasks run from App/app_tasks.c */
/* USER CODE END Header_StartTelemetryTask */
void StartTelemetryTask(void *argument)
{
  (void)argument;
  for(;;) { osDelay(1000); }
}

void StartGSMTask(void *argument)
{
  (void)argument;
  for(;;) { osDelay(1000); }
}

void HAL_TIM_PeriodElapsedCallback(TIM_HandleTypeDef *htim)
{
  if (htim->Instance == TIM6)
  {
    HAL_IncTick();
  }
}

void Error_Handler(void)
{
  /* USER CODE BEGIN Error_Handler_Debug */
  /* User can add his own implementation to report the HAL error return state */
  __disable_irq();
//  HAL_UART_DMAStop(&huart3);
//  HAL_FDCAN_Stop(&hfdcan2);
//  HAL_FDCAN_Stop(&hfdcan3);
//  NVIC_SystemReset();//donanımsal reset (içinde enable eder zaten)
  while(1){} //reset bitene kadar kal
  /* USER CODE END Error_Handler_Debug */
}
